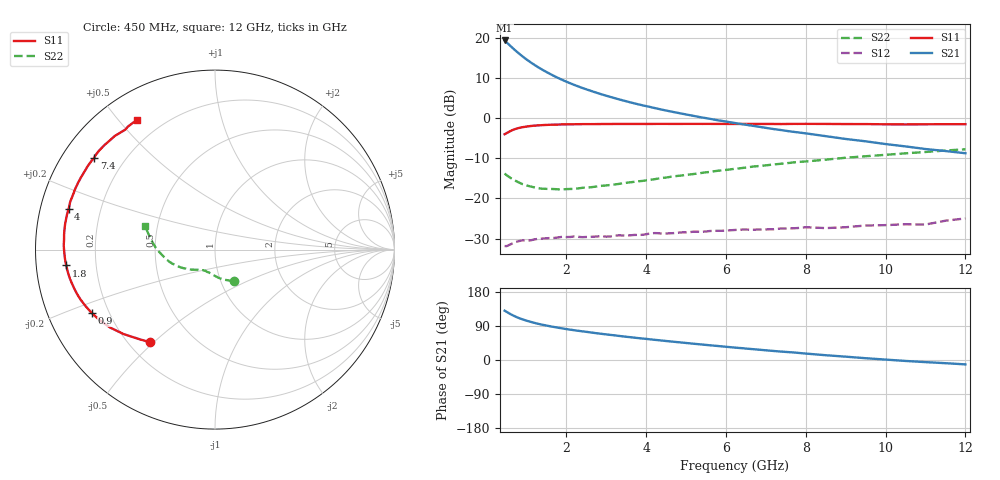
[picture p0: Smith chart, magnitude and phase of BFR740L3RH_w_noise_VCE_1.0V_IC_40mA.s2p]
! (c) 2012  Infineon Technologies AG, Munich
! Infineon Technologies  Discrete & RF Semiconductors
! BFR740L3RH
! VCE =  1.0 V,  IC =  40 mA
! Common Emitter S-Parameters:  May 2012
# GHz  S  MA  R  50
!  f  S11  S21  S12  S22
! GHz  MAG  ANG  MAG  ANG  MAG  ANG  MAG  ANG
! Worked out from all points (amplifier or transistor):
!   85 points, 450 MHz to 12 GHz, reference 50 ohm
!   highest |S21| = 19.3 dB at 450 MHz (marker M1)
!   |S21| within 3 dB of that: start of sweep to 779.4 MHz
!   unconditionally stable (mu >= 1): start of sweep to end of sweep
!   at 1.8 GHz: K = 1.41, MAG = 16.0 dB, |S12| = -29.7 dB
!   at 4.6 GHz: K = 2.95, MAG = 7.6 dB, |S12| = -28.7 dB
!   at 12 GHz: K = 5.97, MAG = -2.6 dB, |S12| = -25.0 dB
!   lowest NFmin = 1.40 dB at 450 MHz
!   S11 on the Smith chart (normalised r, x): 450 MHz: 0.28, -0.49; 900 MHz: 0.14, -0.24; 1.8 GHz: 0.09, -0.05; 4 GHz: 0.08, +0.14; 7.4 GHz: 0.09, +0.33; 12 GHz: 0.11, +0.56
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0.45  0.6308 -125.2  9.277 130.2  0.0256 39.9  0.2045 -59.3
0.5  0.6509 -129.7  8.783 127.1  0.0255 35.9  0.1953 -62.8
0.6  0.6937 -137.3  7.888 120.9  0.0269 30.1  0.1801 -70.1
0.7  0.7282 -143.4  7.105 115.6  0.0284 27.6  0.1685 -76.8
0.8  0.753 -148.4  6.435 111.0  0.0294 25.2  0.1589 -82.4
0.9  0.7719 -152.7  5.867 107.2  0.0302 23.9  0.1509 -87.0
1  0.7864 -156.3  5.38 103.8  0.0299 23.2  0.1453 -91.1
1.1  0.7983 -159.4  4.963 100.7  0.0301 21.7  0.1411 -94.9
1.3  0.8138 -164.6  4.28 95.3  0.0315 19.9  0.1343 -101.3
1.6  0.828 -170.5  3.532 88.8  0.0322 19.1  0.1316 -109.2
1.8  0.8332 -173.9  3.15 85.1  0.0328 20.3  0.13 -112.9
2.1  0.8387 -178.0  2.71 80.0  0.0332 20.5  0.1314 -118.1
2.4  0.8429 178.6  2.375 75.6  0.033 19.2  0.1358 -122.1
3.1  0.8465 171.5  1.839 66.3  0.0337 20.5  0.1474 -130.3
4  0.8469 164.4  1.412 55.7  0.0359 21.8  0.1683 -138.5
4.3  0.849 162.2  1.307 52.3  0.037 22.3  0.1769 -141.1
5.3  0.8488 155.3  1.041 41.8  0.0386 24.8  0.2053 -149.9
6.3  0.8475 149.0  0.858 32.0  0.0408 26.4  0.236 -158.4
7.4  0.8451 142.8  0.709 22.1  0.0424 28.0  0.2716 -167.4
8.5  0.8477 136.5  0.597 12.6  0.0428 28.6  0.3044 -176.1
10.5  0.8347 126.8  0.445 -2.5  0.0478 33.1  0.3652 170.2
12  0.8419 120.9  0.366 -11.6  0.0565 40.0  0.4099 160.9
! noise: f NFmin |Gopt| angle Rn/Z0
0.45  1.4  0.19  180  0.12
0.9  1.41  0.2  179  0.12
1.5  1.46  0.25  179  0.1
1.9  1.49  0.27  -179  0.11
2.4  1.55  0.29  -176  0.11
3.5  1.7  0.31  -173  0.11
5.5  2.05  0.35  -163  0.12
8  2.5  0.38  -152  0.19
10  2.86  0.45  -133  0.3
12  3.2  0.49  -121  0.51
